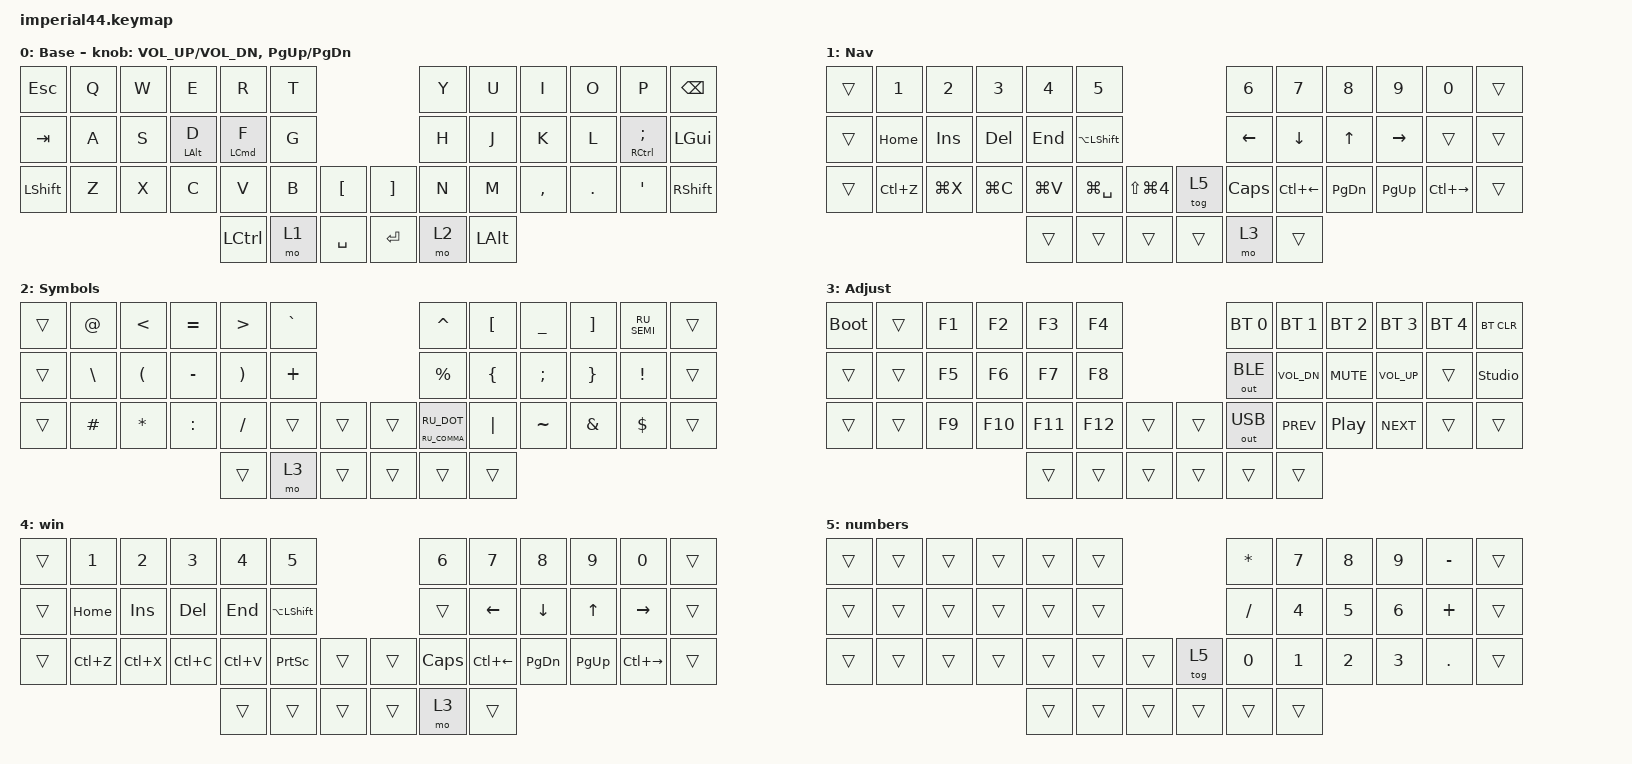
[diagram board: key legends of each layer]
#include "keys_ru.h"
#include <behaviors.dtsi>
#include <dt-bindings/zmk/bt.h>
#include <dt-bindings/zmk/keys.h>
#include <dt-bindings/zmk/outputs.h>

/ {
    keymap {
        compatible = "zmk,keymap";

        base {
            bindings = <
&kp ESC    &kp Q  &kp W  &kp E           &kp R       &kp T                          &kp Y  &kp U     &kp I      &kp O    &kp P           &kp BACKSPACE
&kp TAB    &kp A  &kp S  &mt LEFT_ALT D  &mt LCMD F  &kp G                          &kp H  &kp J     &kp K      &kp L    &mt RCTRL SEMI  &kp LGUI
&kp LSHFT  &kp Z  &kp X  &kp C           &kp V       &kp B  &kp LBKT     &kp RBKT   &kp N  &kp M     &kp COMMA  &kp DOT  &kp SQT         &kp RSHFT
                                         &kp LCTRL   &mo 1  &kp SPACE    &kp ENTER  &mo 2  &kp LALT
            >;

            display-name = "Base";
            sensor-bindings =
                <&inc_dec_kp C_VOL_UP C_VOL_DN>,
                <&inc_dec_kp PG_UP PG_DN>;
        };

        nav {
            bindings = <
&trans  &kp N1     &kp N2     &kp N3      &kp N4     &kp N5                                   &kp N6        &kp N7        &kp N8     &kp N9     &kp N0         &trans
&trans  &kp HOME   &kp INS    &kp DELETE  &kp END    &kp LA(LSHFT)                            &kp LEFT      &kp DOWN      &kp UP     &kp RIGHT  &trans         &trans
&trans  &kp LC(Z)  &kp LG(X)  &kp LG(C)   &kp LG(V)  &kp LG(SPACE)  &kp LS(LG(N4))    &tog 5  &kp CAPSLOCK  &kp LC(LEFT)  &kp PG_DN  &kp PG_UP  &kp LC(RIGHT)  &trans
                                          &trans     &trans         &trans            &trans  &mo 3         &trans
            >;

            display-name = "Nav";
        };

        sym {
            bindings = <
&trans  &kp AT    &kp LT    &kp EQUAL  &kp GT    &kp GRAVE                    &kp CARET            &kp LBKT  &kp UNDER  &kp RBKT  &kp RU_SEMI  &trans
&trans  &kp BSLH  &kp LPAR  &kp MINUS  &kp RPAR  &kp PLUS                     &kp PRCNT            &kp LBRC  &kp SEMI   &kp RBRC  &kp EXCL     &trans
&trans  &kp HASH  &kp STAR  &kp COLON  &kp FSLH  &trans     &trans    &trans  &mt RU_COMMA RU_DOT  &kp PIPE  &kp TILDE  &kp AMPS  &kp DLLR     &trans
                                       &trans    &mo 3      &trans    &trans  &trans               &trans
            >;

            display-name = "Symbols";
        };

        adj {
            bindings = <
&bootloader  &trans  &kp F1  &kp F2   &kp F3   &kp F4                     &bt BT_SEL 0  &bt BT_SEL 1  &bt BT_SEL 2      &bt BT_SEL 3  &bt BT_SEL 4  &bt BT_CLR
&trans       &trans  &kp F5  &kp F6   &kp F7   &kp F8                     &out OUT_BLE  &kp C_VOL_DN  &kp C_MUTE        &kp C_VOL_UP  &trans        &studio_unlock
&trans       &trans  &kp F9  &kp F10  &kp F11  &kp F12  &trans    &trans  &out OUT_USB  &kp C_PREV    &kp C_PLAY_PAUSE  &kp C_NEXT    &trans        &trans
                                      &trans   &trans   &trans    &trans  &trans        &trans
            >;

            display-name = "Adjust";
        };

        win {
            display-name = "win";
            bindings = <
&trans  &kp N1     &kp N2     &kp N3      &kp N4     &kp N5                             &kp N6        &kp N7        &kp N8     &kp N9     &kp N0         &trans
&trans  &kp HOME   &kp INS    &kp DELETE  &kp END    &kp LA(LSHFT)                      &trans        &kp LEFT      &kp DOWN   &kp UP     &kp RIGHT      &trans
&trans  &kp LC(Z)  &kp LC(X)  &kp LC(C)   &kp LC(V)  &kp PRINTSCREEN  &trans    &trans  &kp CAPSLOCK  &kp LC(LEFT)  &kp PG_DN  &kp PG_UP  &kp LC(RIGHT)  &trans
                                          &trans     &trans           &trans    &trans  &mo 3         &trans
            >;
        };

        numbers {
            bindings = <
&trans  &trans  &trans  &trans  &trans  &trans                    &kp STAR  &kp N7  &kp N8  &kp N9  &kp MINUS  &trans
&trans  &trans  &trans  &trans  &trans  &trans                    &kp FSLH  &kp N4  &kp N5  &kp N6  &kp PLUS   &trans
&trans  &trans  &trans  &trans  &trans  &trans  &trans    &tog 5  &kp N0    &kp N1  &kp N2  &kp N3  &kp DOT    &trans
                                &trans  &trans  &trans    &trans  &trans    &trans
            >;
        };
    };
};
